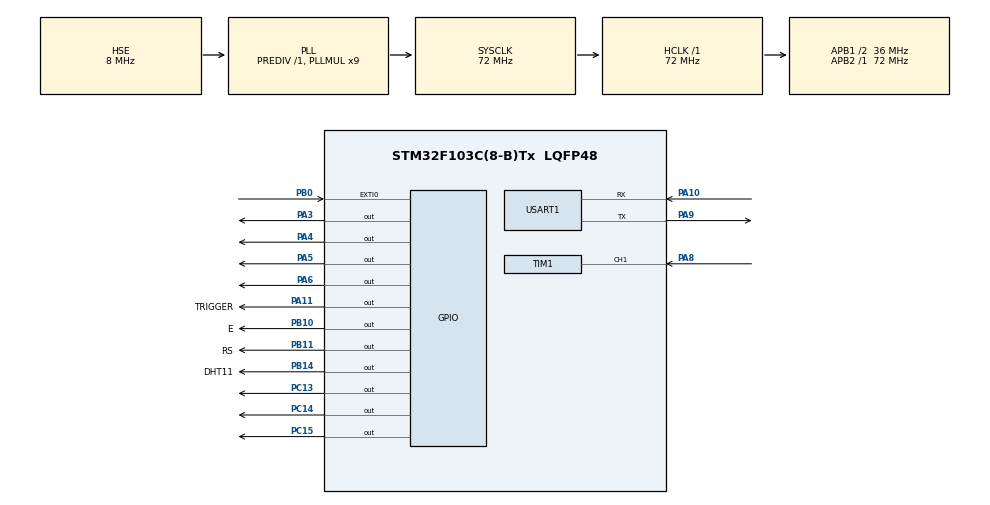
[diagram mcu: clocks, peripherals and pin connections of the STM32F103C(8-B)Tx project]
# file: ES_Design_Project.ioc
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Dma.Request0=USART1_RX
Dma.Request1=USART1_TX
Dma.USART1_RX.0.Direction=DMA_PERIPH_TO_MEMORY
Dma.USART1_RX.0.Instance=DMA1_Channel5
Dma.USART1_RX.0.MemDataAlignment=DMA_MDATAALIGN_BYTE
Dma.USART1_RX.0.MemInc=DMA_MINC_ENABLE
Dma.USART1_RX.0.Mode=DMA_NORMAL
Dma.USART1_RX.0.PeriphDataAlignment=DMA_PDATAALIGN_BYTE
Dma.USART1_RX.0.PeriphInc=DMA_PINC_DISABLE
Dma.USART1_RX.0.Priority=DMA_PRIORITY_LOW
Dma.USART1_TX.1.Direction=DMA_MEMORY_TO_PERIPH
Dma.USART1_TX.1.Instance=DMA1_Channel4
Dma.USART1_TX.1.MemDataAlignment=DMA_MDATAALIGN_BYTE
Dma.USART1_TX.1.MemInc=DMA_MINC_ENABLE
Dma.USART1_TX.1.Mode=DMA_NORMAL
Dma.USART1_TX.1.PeriphDataAlignment=DMA_PDATAALIGN_BYTE
Dma.USART1_TX.1.PeriphInc=DMA_PINC_DISABLE
Dma.USART1_TX.1.Priority=DMA_PRIORITY_LOW
Mcu.Family=STM32F1
Mcu.Name=STM32F103C(8-B)Tx
Mcu.Package=LQFP48
NVIC.DMA1_Channel4_IRQn=true\:0\:0\:true\:false\:true\:false\:true\:true
NVIC.DMA1_Channel5_IRQn=true\:0\:0\:true\:false\:true\:false\:true\:true
NVIC.EXTI0_IRQn=true\:0\:0\:false\:false\:true\:true\:true\:true
NVIC.PriorityGroup=NVIC_PRIORITYGROUP_2
NVIC.TIM1_BRK_IRQn=true\:0\:0\:false\:false\:true\:true\:true\:true
NVIC.TIM1_CC_IRQn=true\:1\:0\:true\:false\:true\:true\:true\:true
NVIC.TIM1_TRG_COM_IRQn=true\:0\:0\:false\:false\:true\:true\:true\:true
NVIC.TIM1_UP_IRQn=true\:0\:0\:false\:false\:true\:true\:true\:true
NVIC.TIM4_IRQn=true\:2\:0\:true\:false\:true\:true\:true\:true
NVIC.USART1_IRQn=true\:0\:0\:true\:false\:true\:true\:true\:true
PA10.Mode=Asynchronous
PA10.Signal=USART1_RX
PA11.GPIO_Label=TRIGGER
PA11.Signal=GPIO_Output
PA13.Mode=Serial_Wire
PA13.Signal=SYS_JTMS-SWDIO
PA14.Mode=Serial_Wire
PA14.Signal=SYS_JTCK-SWCLK
PA3.Signal=GPIO_Output
PA4.Signal=GPIO_Output
PA5.Signal=GPIO_Output
PA6.Signal=GPIO_Output
PA8.Signal=S_TIM1_CH1
PA9.Mode=Asynchronous
PA9.Signal=USART1_TX
PB0.GPIO_ModeDefaultEXTI=GPIO_MODE_IT_FALLING
PB0.Signal=GPXTI0
PB10.GPIO_Label=E
PB10.Signal=GPIO_Output
PB11.GPIO_Label=RS
PB11.Signal=GPIO_Output
PB14.GPIO_Label=DHT11
PB14.Signal=GPIO_Output
PC13-TAMPER-RTC.PinState=GPIO_PIN_SET
PC13-TAMPER-RTC.Signal=GPIO_Output
PC14-OSC32_IN.PinState=GPIO_PIN_SET
PC14-OSC32_IN.Signal=GPIO_Output
PC15-OSC32_OUT.PinState=GPIO_PIN_SET
PC15-OSC32_OUT.Signal=GPIO_Output
PD0-OSC_IN.Mode=HSE-External-Oscillator
PD0-OSC_IN.Signal=RCC_OSC_IN
PD1-OSC_OUT.Mode=HSE-External-Oscillator
PD1-OSC_OUT.Signal=RCC_OSC_OUT
ProjectManager.HeapSize=0x200
ProjectManager.StackSize=0x400
ProjectManager.TargetToolchain=STM32CubeIDE
RCC.AHBFreq_Value=72000000
RCC.APB1CLKDivider=RCC_HCLK_DIV2
RCC.APB1Freq_Value=36000000
RCC.APB1TimFreq_Value=72000000
RCC.APB2Freq_Value=72000000
RCC.APB2TimFreq_Value=72000000
RCC.HCLKFreq_Value=72000000
RCC.PLLMUL=RCC_PLL_MUL9
RCC.PLLSourceVirtual=RCC_PLLSOURCE_HSE
RCC.SYSCLKFreq_VALUE=72000000
RCC.SYSCLKSource=RCC_SYSCLKSOURCE_PLLCLK
RCC.USBFreq_Value=72000000
SH.S_TIM1_CH1.0=TIM1_CH1,Input_Capture1_from_TI1
TIM1.Channel-Input_Capture1_from_TI1=TIM_CHANNEL_1
TIM1.Prescaler=71
TIM4.Period=50000
TIM4.Prescaler=7200 - 1
USART1.VirtualMode=VM_ASYNC
VP_TIM1_VS_ClockSourceINT.Mode=Internal
VP_TIM4_VS_ClockSourceINT.Mode=Internal
board=custom

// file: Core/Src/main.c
/* USER CODE BEGIN Header */
/**
  ******************************************************************************
  * @file           : main.c
  * @brief          : Main program body
  ******************************************************************************
  * @attention
  *
  * <h2><center>&copy; Copyright (c) 2020 STMicroelectronics.
  * All rights reserved.</center></h2>
  *
  * This software component is licensed by ST under BSD 3-Clause license,
  * the "License"; You may not use this file except in compliance with the
  * License. You may obtain a copy of the License at:
  *                        opensource.org/licenses/BSD-3-Clause
  *
  ******************************************************************************
  */
/* USER CODE END Header */
#include "main.h"

/* USER CODE BEGIN Includes */
#include "DHT.h"
#include "lcd16x2.h"
#include <stdio.h>
#include <string.h>
#include <math.h>
#include <stdbool.h>
/* USER CODE END Includes */

/* USER CODE BEGIN PTD */
typedef void (*Task_FunctionTypeDef) (void);
/* USER CODE END PTD */

/* USER CODE BEGIN PD */
#define TransmitBuff_SIZE	70
#define ReceiveBuff_SIZE	10
#define MainBuff_SIZE		9
#define Queue_SIZE			45
/* USER CODE END PD */

TIM_HandleTypeDef htim1;
TIM_HandleTypeDef htim4;

UART_HandleTypeDef huart1;
DMA_HandleTypeDef hdma_usart1_rx;
DMA_HandleTypeDef hdma_usart1_tx;

/* USER CODE BEGIN PV */
Task_FunctionTypeDef queue[Queue_SIZE];
Task_FunctionTypeDef UART_Transmit_Func = NULL;

/* Data of DHT11 Sensor */
float temp = 0;
float humi = 0;
uint8_t Rh_byte1, Rh_byte2, Temp_byte1, Temp_byte2;
uint16_t SUM, RH, TEMP;
uint8_t Presence = 0;

/* Data line of LCD1602*/
char data_line_1[16];
char data_line_2[16];

/* Data of HC-SR04 Sensor */
uint32_t IC_Val1 = 0;
uint32_t IC_Val2 = 0;
uint32_t Difference = 0;
uint8_t Is_First_Captured = 0;  // is the first value captured ?
uint8_t distance  = 0;

/* Buffer Array */
uint8_t RxBuffer[ReceiveBuff_SIZE];
uint8_t TxBuffer[TransmitBuff_SIZE];
uint8_t MainBuffer[MainBuff_SIZE];

/* Period Time */
uint8_t DHT11_transmit_period;
uint8_t HCSR04_transmit_period;
uint8_t temp_transmit_period;
uint8_t humi_transmit_period;

/* Temperature Threshold */
uint8_t temp_threshold;

/* Humidity Threshold */
uint8_t humi_threshold;

/* Distance Threshold */
uint8_t dist_threshold;

/* Etc .. */
uint8_t cmd_index = 1;
uint8_t len = 0;

uint32_t start_tick = 0;
uint32_t stop_tick = 0;
uint32_t execute_tick = 0;

uint8_t humi_cnt = 0;
uint8_t temp_cnt = 0;
uint8_t dist_cnt = 0;

/* Enable Flag */
bool read_DHT11_flag = 0;
bool read_HCSR04_flag = 0;
bool transmit_DHT11_data_flag = 0;
bool transmit_temp_data_flag = 0;
bool transmit_humi_data_flag = 0;
bool transmit_dist_data_flag = 0;
bool transmit_DHT11_HCSR04_data_flag = 0;
bool transmit_temp_HCSR04_data_flag = 0;
bool transmit_humi_HCSR04_data_flag = 0;
bool lcd_display_flag = 0;
bool uart_enable_cmd_1 = 0;
bool uart_enable_cmd_2 = 0;

bool uart_enable_cmd_1_tmp = 0;
bool uart_enable_cmd_2_tmp = 0;

bool button_enable = 0;
bool isHumiTrans = 0;
bool isDistTrans = 0;

uint16_t Count = 0;
uint16_t cnt = 0;
uint16_t cnt_1 = 0;
uint8_t isr_cnt = 0;

int isr_tick_start;
int isr_tick_stop;
int isr_execute_tick;

int dht11_tick_old = 0;
int dht11_tick_new = 0;
int dht11_tick_period;

int lcd_tick_old = 0;
int lcd_tick_new = 0;
int lcd_tick_period;

int hcsr04_tick_old = 0;
int hcsr04_tick_new = 0;
int hcsr04_tick_period;

int old_tick = 0;
int new_tick = 0;

int task_idx = 0;
int old_task_idx;
int execute_time[46];
int idx = 4;
/* USER CODE END PV */

void SystemClock_Config(void);
static void MX_GPIO_Init(void);
static void MX_DMA_Init(void);
static void MX_TIM4_Init(void);
static void MX_USART1_UART_Init(void);
static void MX_TIM1_Init(void);
/* USER CODE BEGIN PFP */
// Hiển thị LCD
void LCD_Display(void);

// Nhận UART
void HAL_UARTEx_RxEventCallback(UART_HandleTypeDef *huart, uint16_t Size);

// Xử lý lệnh UART
void processRecCmd(size_t len);

// Truyen du lieu DHT11 qua UART
void DHT11_UART_Transmit(void);

// Truyen du lieu HSR04 qua UART
void HCSR04_UART_Transmit(void);

// Truyen du lieu DHT11 và HSR04 qua UART
void DHT11_HSR04_UART_Transmit(void);

void Temp_HCSR04_UART_Transmit(void);

void Humi_HCSR04_UART_Transmit(void);

// Delay microsecond
void delay_us(uint16_t time);

// Hàm Callback khi sóng siêu âm phản hồi v�? để đo khoảng cách
void HAL_TIM_IC_CaptureCallback(TIM_HandleTypeDef *htim);

// Hàm ngắt Timer
void HAL_TIM_PeriodElapsedCallback(TIM_HandleTypeDef *htim);

// Set chân cho DHT11
void Set_Pin_Output(GPIO_TypeDef *GPIOx, uint16_t GPIO_Pin);
void Set_Pin_Input(GPIO_TypeDef *GPIOx, uint16_t GPIO_Pin);

// Khởi tạo giao tiếp giữa DHT11 với Vi đi�?u khiển
void DHT11_Start(void);

// Kiểm tra phản hồi của DHT11
uint8_t DHT11_Check_Response(void);

uint8_t DHT11_Read(void);

// �?�?c cảm biến DHT11
void Read_DHT11_Sensor(void);

// �?�?c cảm biến HCSR04
void Read_HCSR04_Sensor(void);

void Temp_UART_Transmit(void);

void Humi_UART_Transmit(void);
/* USER CODE END PFP */

/* USER CODE BEGIN 0 */

// Set period, threshold value by button
void HAL_GPIO_EXTI_Callback(uint16_t GPIO_Pin)
{
	start_tick = HAL_GetTick();
	UNUSED(GPIO_Pin);
	if(GPIO_Pin == GPIO_PIN_0 && button_enable == true){
		isr_cnt++;
		/* Nhan nut lan 1, dat chu ky truyen UART cac cam bien la 1s */
		if(isr_cnt == 1){
			temp_transmit_period = 1;
			humi_transmit_period = 1;
			HCSR04_transmit_period = 1;
			HAL_GPIO_WritePin(GPIOC, GPIO_PIN_13, GPIO_PIN_SET);
			HAL_GPIO_WritePin(GPIOC, GPIO_PIN_14, GPIO_PIN_SET);
			HAL_GPIO_WritePin(GPIOC, GPIO_PIN_15, GPIO_PIN_RESET);
		}
		/* Nhan nut lan 2, dat chu ky truyen UART cac cam bien la 2s */
		else if(isr_cnt == 2){
			temp_transmit_period = 2;
			humi_transmit_period = 2;
			HCSR04_transmit_period = 2;
			HAL_GPIO_WritePin(GPIOC, GPIO_PIN_13, GPIO_PIN_SET);
			HAL_GPIO_WritePin(GPIOC, GPIO_PIN_14, GPIO_PIN_RESET);
			HAL_GPIO_WritePin(GPIOC, GPIO_PIN_15, GPIO_PIN_SET);
		}
		/* Nhan nut lan 3, dat chu ky truyen UART cac cam bien la 3s */
		else if(isr_cnt == 3){
			temp_transmit_period = 3;
			humi_transmit_period = 3;
			HCSR04_transmit_period = 3;
			HAL_GPIO_WritePin(GPIOC, GPIO_PIN_13, GPIO_PIN_RESET);
			HAL_GPIO_WritePin(GPIOC, GPIO_PIN_14, GPIO_PIN_SET);
			HAL_GPIO_WritePin(GPIOC, GPIO_PIN_15, GPIO_PIN_SET);
			isr_cnt = 0;
		}
	}
	//while(HAL_GPIO_ReadPin(GPIOB, GPIO_PIN_0) == GPIO_PIN_RESET);
	stop_tick = HAL_GetTick();
	execute_tick = stop_tick - start_tick;
}

void delay_us(uint16_t time)
{
	__HAL_TIM_SET_COUNTER(&htim1, 0);
	while (__HAL_TIM_GET_COUNTER (&htim1) < time);
}

void HAL_TIM_IC_CaptureCallback(TIM_HandleTypeDef *htim)
{
	if (htim->Channel == HAL_TIM_ACTIVE_CHANNEL_1)  // if the interrupt source is channel1
	{
		if (Is_First_Captured==0) // if the first value is not captured
		{
			IC_Val1 = HAL_TIM_ReadCapturedValue(htim, TIM_CHANNEL_1); // read the first value
			Is_First_Captured = 1;  // set the first captured as true
			// Now change the polarity to falling edge
			__HAL_TIM_SET_CAPTUREPOLARITY(htim, TIM_CHANNEL_1, TIM_INPUTCHANNELPOLARITY_FALLING);
		}

		else if (Is_First_Captured==1)   // if the first is already captured
		{
			IC_Val2 = HAL_TIM_ReadCapturedValue(htim, TIM_CHANNEL_1);  // read second value
			__HAL_TIM_SET_COUNTER(htim, 0);  // reset the counter

			if (IC_Val2 > IC_Val1)
			{
				Difference = IC_Val2-IC_Val1;
			}

			else if (IC_Val1 > IC_Val2)
			{
				Difference = (0xffff - IC_Val1) + IC_Val2;
			}

			distance = Difference * .034/2;
			Is_First_Captured = 0; // set it back to false

			// set polarity to rising edge
			__HAL_TIM_SET_CAPTUREPOLARITY(htim, TIM_CHANNEL_1, TIM_INPUTCHANNELPOLARITY_RISING);
			__HAL_TIM_DISABLE_IT(&htim1, TIM_IT_CC1);
			//stop_tick = HAL_GetTick();
			//execute_tick = stop_tick - start_tick;

		}
	}
}

void Read_HCSR04_Sensor(void)
{
	HAL_GPIO_WritePin(TRIGGER_GPIO_Port, TRIGGER_Pin, GPIO_PIN_SET);  // pull the TRIG pin HIGH
	delay_us(10);  // wait for 10 us
	HAL_GPIO_WritePin(TRIGGER_GPIO_Port, TRIGGER_Pin, GPIO_PIN_RESET);  // pull the TRIG pin low
	__HAL_TIM_ENABLE_IT(&htim1, TIM_IT_CC1);
}

void LCD_Display(void){
	sprintf(data_line_1,"TEMP HUMI DIST");
	sprintf(data_line_2,"%dC %d  %d", (int)temp, (int)humi,(int)distance);
	lcd16x2_1stLine();
	lcd16x2_printf(data_line_1);
	lcd16x2_2ndLine();
	lcd16x2_printf(data_line_2);
}

void DHT11_UART_Transmit(void){
	memset(TxBuffer, 0, TransmitBuff_SIZE);
	new_tick = HAL_GetTick();
	sprintf((char*)TxBuffer, "\nTemperature: %doC, Humidity: %d%% %d\n", (int) temp, (int) humi, (int) (new_tick - old_tick));
	old_tick = new_tick;
	for(size_t i = 0; i < sizeof(TxBuffer); i++){
		if(TxBuffer[i] == '\0'){
			len = i + 1;
		}
	}
	HAL_UART_Transmit_DMA(&huart1, TxBuffer, sizeof(TxBuffer));
}

void Temp_UART_Transmit(void){
	new_tick = HAL_GetTick();
	memset(TxBuffer, 0, TransmitBuff_SIZE);
	sprintf((char*)TxBuffer, "\nTemperature: %doC : %d\n", (int) temp, (int)(new_tick - old_tick));
	old_tick = new_tick;
	for(size_t i = 0; i < sizeof(TxBuffer); i++){
		if(TxBuffer[i] == '\0'){
			len = i + 1;
		}
	}
	HAL_UART_Transmit_DMA(&huart1, TxBuffer, sizeof(TxBuffer));
}

void Humi_UART_Transmit(void){
	memset(TxBuffer, 0, TransmitBuff_SIZE);
	sprintf((char*)TxBuffer, "\nHumidity: %d%%\n", (int) humi);
	for(size_t i = 0; i < sizeof(TxBuffer); i++){
		if(TxBuffer[i] == '\0'){
			len = i + 1;
		}
	}
	HAL_UART_Transmit_DMA(&huart1, TxBuffer, sizeof(TxBuffer));
}

void Humi_HCSR04_UART_Transmit(void){
	memset(TxBuffer, 0, TransmitBuff_SIZE);
	sprintf((char*)TxBuffer, "\nHumidity: %d%%, Distance: %d cm\n", (int) humi, (int) distance);
	for(size_t i = 0; i < sizeof(TxBuffer); i++){
		if(TxBuffer[i] == '\0'){
			len = i + 1;
		}
	}
	HAL_UART_Transmit_DMA(&huart1, TxBuffer, sizeof(TxBuffer));
}

void Temp_HCSR04_UART_Transmit(void){
	memset(TxBuffer, 0, TransmitBuff_SIZE);
	sprintf((char*)TxBuffer, "\nTemperature: %doC, Distance: %d cm\n", (int) temp, (int) distance);
	for(size_t i = 0; i < sizeof(TxBuffer); i++){
		if(TxBuffer[i] == '\0'){
			len = i + 1;
		}
	}
	HAL_UART_Transmit_DMA(&huart1, TxBuffer, sizeof(TxBuffer));
}

void HCSR04_UART_Transmit(void){
	memset(TxBuffer, 0, TransmitBuff_SIZE);
	sprintf((char*)TxBuffer, "\nDistance: %d cm\n", (int)distance);
	for(size_t i = 0; i < sizeof(TxBuffer); i++){
		if(TxBuffer[i] == '\0'){
			len = i + 1;
		}
	}
	HAL_UART_Transmit_DMA(&huart1, TxBuffer, sizeof(TxBuffer));

}

void DHT11_HCSR04_UART_Transmit(void){
	memset(TxBuffer, 0, TransmitBuff_SIZE);
	sprintf((char*)TxBuffer, "\nTemperature: %doC, Humidity: %d%%, Distance: %d cm, Time: %d\n", (int) temp, (int) humi, (int)distance, (int)HAL_GetTick());
	for(size_t i = 0; i < sizeof(TxBuffer); i++){
		if(TxBuffer[i] == '\0'){
			len = i + 1;
		}
	}
	HAL_UART_Transmit_DMA(&huart1, TxBuffer, len);
}

void processRecCmd(size_t len){
	if(MainBuffer[0] != 0x00 || MainBuffer[len-1] != 0x08){
		return;
	};

	uint8_t cmd_type = MainBuffer[cmd_index]; // MainBuffer[1]

	switch (cmd_type) {
		case 0x02:
			/* some codes */
			uart_enable_cmd_2_tmp = true;
			uart_enable_cmd_1_tmp = false;
			button_enable = 0;
			HAL_GPIO_WritePin(GPIOC, GPIO_PIN_13, GPIO_PIN_SET);
			HAL_GPIO_WritePin(GPIOC, GPIO_PIN_14, GPIO_PIN_SET);
			HAL_GPIO_WritePin(GPIOC, GPIO_PIN_15, GPIO_PIN_SET);
			isr_cnt = 0;
			temp_cnt = 0;
			humi_cnt = 0;
			dist_cnt = 0;
			transmit_DHT11_data_flag = 0;
			transmit_temp_data_flag = 0;
			transmit_humi_data_flag = 0;
			transmit_dist_data_flag = 0;
			transmit_DHT11_HCSR04_data_flag = 0;
			transmit_temp_HCSR04_data_flag = 0;
			transmit_humi_HCSR04_data_flag = 0;

			isDistTrans = 0;
			isHumiTrans = 0;

			temp_threshold = MainBuffer[5];
			humi_threshold = MainBuffer[6];
			dist_threshold = MainBuffer[7];
			if(MainBuffer[2] == 0x01){
				temp_transmit_period = 1;
			}
			else temp_transmit_period = 0;

			if(MainBuffer[3] == 0x01){
				humi_transmit_period = 1;
			}
			else humi_transmit_period = 0;

			if(MainBuffer[4] == 0x01){
				HCSR04_transmit_period = 1;
			}
			else HCSR04_transmit_period = 0;

		  break;

		case 0x01:
			/* some codes */
			uart_enable_cmd_1_tmp = true;
			uart_enable_cmd_2_tmp = false;
			button_enable = true;
			/* Xoa thong so cai dat tu nut nhan */
			HAL_GPIO_WritePin(GPIOC, GPIO_PIN_13, GPIO_PIN_SET);
			HAL_GPIO_WritePin(GPIOC, GPIO_PIN_14, GPIO_PIN_SET);
			HAL_GPIO_WritePin(GPIOC, GPIO_PIN_15, GPIO_PIN_SET);
			isr_cnt = 0;

			/* Xoa cac co cho phep */
			transmit_DHT11_data_flag = 0;
			transmit_temp_data_flag = 0;
			transmit_humi_data_flag = 0;
			transmit_dist_data_flag = 0;
			transmit_DHT11_HCSR04_data_flag = 0;
			transmit_temp_HCSR04_data_flag = 0;
			transmit_humi_HCSR04_data_flag = 0;

			isDistTrans = 0;
			isHumiTrans = 0;

			/* Dat cac thong so cai dat tu lenh UART */
			temp_transmit_period = MainBuffer[2];
			humi_transmit_period = MainBuffer[3];
			HCSR04_transmit_period = MainBuffer[4];
			temp_threshold = MainBuffer[5];
			humi_threshold = MainBuffer[6];
			dist_threshold = MainBuffer[7];
			temp_cnt = 0;
			humi_cnt = 0;
			dist_cnt = 0;
		  break;

		default:
		  break;
	}
}

void HAL_UARTEx_RxEventCallback(UART_HandleTypeDef *huart, uint16_t Size){
	if(huart->Instance == USART1){
		for(size_t i = 0; i<Size-1; i++) {
			if(RxBuffer[i] == 0x00){
				memcpy(MainBuffer, &RxBuffer[i], Size-i);
				processRecCmd(Size-i);
				break;
			}
		}
		HAL_UARTEx_ReceiveToIdle_DMA(&huart1, RxBuffer, MainBuff_SIZE);
		__HAL_DMA_DISABLE_IT(&hdma_usart1_rx, DMA_IT_HT);
	}
}

void HAL_TIM_PeriodElapsedCallback(TIM_HandleTypeDef *htim)
{
  // Check which version of the timer triggered this callback and toggle LED
  isr_tick_start = HAL_GetTick();
  if (htim == &htim4)
  {
	  old_task_idx = task_idx;
	  task_idx++;
	  __HAL_TIM_SET_AUTORELOAD(&htim4, execute_time[task_idx]);
	  //htim4.Init.Period = execute_time[task_idx];
	  __HAL_TIM_SET_COUNTER(&htim4,0);
	  if(queue[old_task_idx] == Read_DHT11_Sensor){
		  read_DHT11_flag = true;
	  }
	  else if(queue[old_task_idx] == Read_HCSR04_Sensor){
		  read_HCSR04_flag = true;
	  }
	  else if(queue[old_task_idx] == LCD_Display){
		  lcd_display_flag = true;
	  }
	  else if(queue[old_task_idx] == DHT11_UART_Transmit){
		  humi_cnt++;
		  temp_cnt++;
		  dist_cnt++;

		  if(uart_enable_cmd_1_tmp){
			  uart_enable_cmd_1 = true;
		  }
		  else{
			  uart_enable_cmd_1 = false;
		  }

		  if(uart_enable_cmd_2_tmp){
			  uart_enable_cmd_2 = true;
		  }
		  else{
			  uart_enable_cmd_2 = false;
		  }

		  if(((temp_cnt - 1) % temp_transmit_period) == 0 && ((humi_cnt - 1) % humi_transmit_period) == 0 && ((dist_cnt - 1) % HCSR04_transmit_period) == 0 && temp_transmit_period != 0 && humi_transmit_period !=0 && HCSR04_transmit_period != 0){
			  transmit_DHT11_HCSR04_data_flag = true;
			  isHumiTrans = true;
			  isDistTrans = true;
		  }
		  else if(((temp_cnt - 1) % temp_transmit_period) == 0 && ((humi_cnt - 1) % humi_transmit_period) == 0 && temp_transmit_period != 0 && humi_transmit_period != 0){
			  transmit_DHT11_data_flag = true;
			  isHumiTrans = true;
		  }
		  else if(((temp_cnt - 1) % temp_transmit_period) == 0 && ((dist_cnt - 1) % HCSR04_transmit_period) == 0 && temp_transmit_period !=0 && HCSR04_transmit_period != 0){
			  transmit_temp_HCSR04_data_flag = true;
			  isDistTrans = true;
		  }
		  else if(((temp_cnt - 1) % temp_transmit_period) == 0  && temp_transmit_period != 0){
			  transmit_temp_data_flag = true;
			  isDistTrans = false;
			  isHumiTrans = false;

		  }

		  if(((humi_cnt - 1) % humi_transmit_period) == 0 && ((dist_cnt - 1) % HCSR04_transmit_period) == 0  && HCSR04_transmit_period != 0 && humi_transmit_period !=0){
			  if(isHumiTrans == false && isDistTrans == false){
				  transmit_humi_HCSR04_data_flag = true;
				  isDistTrans = true;
			  }
		  }
		  else if(((humi_cnt - 1) % humi_transmit_period) == 0  && humi_transmit_period !=0){
			  if(isHumiTrans == false) transmit_humi_data_flag = true;
		  }

		  if(((dist_cnt - 1) % HCSR04_transmit_period) == 0  && HCSR04_transmit_period != 0){
			  if(isDistTrans == false) transmit_dist_data_flag = true;
		  }
	  }
	  if(task_idx == 45){
	  	  task_idx = 0;
	  }
  }
  isr_tick_stop = HAL_GetTick();
  isr_execute_tick = isr_tick_stop - isr_tick_start;

}

void Set_Pin_Output (GPIO_TypeDef *GPIOx, uint16_t GPIO_Pin)
{
	GPIO_InitTypeDef GPIO_InitStruct = {0};
	GPIO_InitStruct.Pin = GPIO_Pin;
	GPIO_InitStruct.Mode = GPIO_MODE_OUTPUT_PP;
	GPIO_InitStruct.Speed = GPIO_SPEED_FREQ_LOW;
	HAL_GPIO_Init(GPIOx, &GPIO_InitStruct);
}

void Set_Pin_Input (GPIO_TypeDef *GPIOx, uint16_t GPIO_Pin)
{
	GPIO_InitTypeDef GPIO_InitStruct = {0};
	GPIO_InitStruct.Pin = GPIO_Pin;
	GPIO_InitStruct.Mode = GPIO_MODE_INPUT;
	GPIO_InitStruct.Pull = GPIO_PULLUP;
	HAL_GPIO_Init(GPIOx, &GPIO_InitStruct);
}

void DHT11_Start (void)
{
	Set_Pin_Output (DHT11_GPIO_Port, DHT11_Pin);  // set the pin as output
	HAL_GPIO_WritePin (DHT11_GPIO_Port, DHT11_Pin, 0);   // pull the pin low
	delay_us(25000);   // wait for 25ms
    HAL_GPIO_WritePin(DHT11_GPIO_Port, DHT11_Pin, 1);   // pull the pin high
	delay_us(25);   // wait for 25us
	Set_Pin_Input(DHT11_GPIO_Port, DHT11_Pin);    // set as input
}

uint8_t DHT11_Check_Response(void)
{
	uint8_t Response = 0;
	delay_us(40);
	if (!(HAL_GPIO_ReadPin(DHT11_GPIO_Port, DHT11_Pin)))
	{
		delay_us(80);
		if ((HAL_GPIO_ReadPin(DHT11_GPIO_Port, DHT11_Pin))) Response = 1;
		else Response = -1; // 255
	}
	else{
		return Response;
	}
	while ((HAL_GPIO_ReadPin(DHT11_GPIO_Port, DHT11_Pin)));   // wait for the pin to go low

	return Response;
}

uint8_t DHT11_Read(void)
{
	uint8_t i,j;
	for (j=0;j<8;j++)
	{
		while (!(HAL_GPIO_ReadPin(DHT11_GPIO_Port, DHT11_Pin)));   // wait for the pin to go high
		delay_us(40);   // wait for 40 us
		if (!(HAL_GPIO_ReadPin(DHT11_GPIO_Port, DHT11_Pin)))   // if the pin is low
		{
			i&= ~(1<<(7-j));   // write 0
		}
		else{
			i|= (1<<(7-j));  // if the pin is high, write 1
		}
		while ((HAL_GPIO_ReadPin(DHT11_GPIO_Port, DHT11_Pin)));  // wait for the pin to go low
	}
	return i;
}

void Read_DHT11_Sensor(void){
	//start_tick = HAL_GetTick();
	DHT11_Start();
    Presence = DHT11_Check_Response();
    if(Presence){
    	Rh_byte1 = DHT11_Read();
    	Rh_byte2 = DHT11_Read();
    	Temp_byte1 = DHT11_Read();
    	Temp_byte2 = DHT11_Read();
    	SUM = DHT11_Read();
    	TEMP = Temp_byte1;
    	RH = Rh_byte1;
    	temp = (float)TEMP;
    	humi = (float)RH;
    }
    //stop_tick = HAL_GetTick();
    //execute_tick = stop_tick - start_tick;
}
/* USER CODE END 0 */

int main(void)
{

  /* MCU Configuration--------------------------------------------------------*/

  /* Reset of all peripherals, Initializes the Flash interface and the Systick. */
  HAL_Init();

  /* Configure the system clock */
  SystemClock_Config();

  /* Initialize all configured peripherals */
  MX_GPIO_Init();
  MX_DMA_Init();
  MX_TIM4_Init();
  MX_USART1_UART_Init();
  MX_TIM1_Init();
  /* USER CODE BEGIN 2 */
  queue[0] = Read_HCSR04_Sensor;
  queue[1] = Read_DHT11_Sensor;
  queue[4] = DHT11_UART_Transmit;
  queue[15] = DHT11_UART_Transmit;
  queue[26] = DHT11_UART_Transmit;
  queue[37] = DHT11_UART_Transmit;
  queue[2] = LCD_Display;
  queue[3] = Read_HCSR04_Sensor;

  for(uint8_t i = 5; i <= 44; ){
	  queue[i] = LCD_Display;
	  if(i == 13 || i == 24 || i == 35){
		  i = i + 3;
	  }
	  else{
		  i = i + 2;
	  }
  }

  for(uint8_t i = 6; i <= 43; ){
  	  queue[i] = Read_HCSR04_Sensor;
  	  if(i == 14 || i == 25 || i == 36){
  		  i = i + 3;
  	  }
  	  else{
  		  i = i + 2;
  	  }
    }

  for(uint8_t i = 0; i <= 45 ; i++){
	  execute_time[i] = 500 - 1;
  }

  execute_time[1] = 1000  - 1;

  for(uint8_t i = 4; i <= 37; i = i + 11){
	  execute_time[i] = 1000  - 1;
  };

  for(uint8_t i = 7; i <= 44; ){
    	  execute_time[i] = 1500 - 1;
    	  if(i == 13 || i == 24 || i == 35){
    		  i = i + 5;
    	  }
    	  else{
    		  i = i + 2;
    	  }
   };

  lcd16x2_init_4bits(GPIOB, RS_Pin, E_Pin, GPIOA, GPIO_PIN_3, GPIO_PIN_4, GPIO_PIN_5, GPIO_PIN_6);

  HAL_TIM_Base_Start_IT(&htim4);
  HAL_TIM_Base_Start(&htim1);
  __HAL_TIM_ENABLE_IT(&htim4, TIM_IT_UPDATE);
  HAL_TIM_IC_Start_IT(&htim1, TIM_CHANNEL_1);
  HAL_UARTEx_ReceiveToIdle_DMA(&huart1, RxBuffer, MainBuff_SIZE);
  __HAL_DMA_DISABLE_IT(&hdma_usart1_rx, DMA_IT_HT);

  /* USER CODE END 2 */

  /* Infinite loop */
  while (1)
  {

    /* USER CODE BEGIN 3 */

	  if(read_DHT11_flag){
	      read_DHT11_flag = 0;
	      dht11_tick_new = HAL_GetTick();
	      Read_DHT11_Sensor();
	      dht11_tick_period = dht11_tick_new - dht11_tick_old;
	      dht11_tick_old = dht11_tick_new;
	  }
	  else if(read_HCSR04_flag){
		  read_HCSR04_flag = 0;
		  hcsr04_tick_new = HAL_GetTick();
		  Read_HCSR04_Sensor();
		  hcsr04_tick_period = hcsr04_tick_new - hcsr04_tick_old;
		  hcsr04_tick_old = hcsr04_tick_new;
	  }
	  else if(lcd_display_flag){
		  lcd_display_flag = 0;
		  lcd_tick_new = HAL_GetTick();
		  LCD_Display();
		  lcd_tick_period = lcd_tick_new - lcd_tick_old;
		  lcd_tick_old = lcd_tick_new;
	  }
	  else if(transmit_DHT11_data_flag && (uart_enable_cmd_1 || uart_enable_cmd_2)){
		  transmit_DHT11_data_flag = 0;
		  DHT11_UART_Transmit();
		  temp_cnt = 1;
		  humi_cnt = 1;
		  isHumiTrans = 0;
		  if(uart_enable_cmd_2){
			  uart_enable_cmd_2_tmp = 0;
			  uart_enable_cmd_2 = 0;
		  }
	  }
	  else if(transmit_humi_HCSR04_data_flag && (uart_enable_cmd_1 || uart_enable_cmd_2)){
		  transmit_humi_HCSR04_data_flag = 0;
		  Humi_HCSR04_UART_Transmit();
		  humi_cnt = 1;
		  dist_cnt = 1;
		  isHumiTrans = 0;
		  isDistTrans = 0;
		  if(uart_enable_cmd_2){
			  uart_enable_cmd_2_tmp = 0;
			  uart_enable_cmd_2 = 0;
		  }
	  }
	  else if(transmit_temp_HCSR04_data_flag && (uart_enable_cmd_1 || uart_enable_cmd_2)){
		  transmit_temp_HCSR04_data_flag = 0;
		  temp_cnt = 1;
		  dist_cnt = 1;
		  Temp_HCSR04_UART_Transmit();
		  isDistTrans = 0;
		  if(uart_enable_cmd_2){
			  uart_enable_cmd_2_tmp = 0;
			  uart_enable_cmd_2 = 0;
		  }
	  }
	  else if(transmit_temp_data_flag && (uart_enable_cmd_1 || uart_enable_cmd_2)){
		  transmit_temp_data_flag = 0;
		  temp_cnt = 1;
		  Temp_UART_Transmit();
		  if(uart_enable_cmd_2){
			  uart_enable_cmd_2_tmp = 0;
			  uart_enable_cmd_2 = 0;
		  }
	  }
	  else if(transmit_humi_data_flag && (uart_enable_cmd_1 || uart_enable_cmd_2)){
		  transmit_humi_data_flag = 0;
		  humi_cnt = 1;
		  Humi_UART_Transmit();
		  isHumiTrans = 0;
		  if(uart_enable_cmd_2){
			  uart_enable_cmd_2_tmp = 0;
			  uart_enable_cmd_2 = 0;
		  }
	  }
	  else if(transmit_dist_data_flag && (uart_enable_cmd_1 || uart_enable_cmd_2)){
		  transmit_dist_data_flag = 0;
		  dist_cnt = 1;
		  HCSR04_UART_Transmit();
		  isDistTrans = 0;
		  if(uart_enable_cmd_2){
			  uart_enable_cmd_2_tmp = 0;
			  uart_enable_cmd_2 = 0;
		  }
	  }
	  else if(transmit_DHT11_HCSR04_data_flag && (uart_enable_cmd_1 || uart_enable_cmd_2)){
		  transmit_DHT11_HCSR04_data_flag = 0;
		  dist_cnt = 1;
		  temp_cnt = 1;
		  humi_cnt = 1;
		  DHT11_HCSR04_UART_Transmit();
		  isDistTrans = 0;
		  isHumiTrans = 0;
		  if(uart_enable_cmd_2){
			  uart_enable_cmd_2_tmp = 0;
			  uart_enable_cmd_2 = 0;
		  }
	  }
  }
  /* USER CODE END 3 */
}

void SystemClock_Config(void)
{
  RCC_OscInitTypeDef RCC_OscInitStruct = {0};
  RCC_ClkInitTypeDef RCC_ClkInitStruct = {0};

  /** Initializes the RCC Oscillators according to the specified parameters
  * in the RCC_OscInitTypeDef structure.
  */
  RCC_OscInitStruct.OscillatorType = RCC_OSCILLATORTYPE_HSE;
  RCC_OscInitStruct.HSEState = RCC_HSE_ON;
  RCC_OscInitStruct.HSEPredivValue = RCC_HSE_PREDIV_DIV1;
  RCC_OscInitStruct.HSIState = RCC_HSI_ON;
  RCC_OscInitStruct.PLL.PLLState = RCC_PLL_ON;
  RCC_OscInitStruct.PLL.PLLSource = RCC_PLLSOURCE_HSE;
  RCC_OscInitStruct.PLL.PLLMUL = RCC_PLL_MUL9;
  if (HAL_RCC_OscConfig(&RCC_OscInitStruct) != HAL_OK)
  {
    Error_Handler();
  }

  /** Initializes the CPU, AHB and APB buses clocks
  */
  RCC_ClkInitStruct.ClockType = RCC_CLOCKTYPE_HCLK|RCC_CLOCKTYPE_SYSCLK
                              |RCC_CLOCKTYPE_PCLK1|RCC_CLOCKTYPE_PCLK2;
  RCC_ClkInitStruct.SYSCLKSource = RCC_SYSCLKSOURCE_PLLCLK;
  RCC_ClkInitStruct.AHBCLKDivider = RCC_SYSCLK_DIV1;
  RCC_ClkInitStruct.APB1CLKDivider = RCC_HCLK_DIV2;
  RCC_ClkInitStruct.APB2CLKDivider = RCC_HCLK_DIV1;

  if (HAL_RCC_ClockConfig(&RCC_ClkInitStruct, FLASH_LATENCY_2) != HAL_OK)
  {
    Error_Handler();
  }
}

static void MX_TIM1_Init(void)
{

  TIM_ClockConfigTypeDef sClockSourceConfig = {0};
  TIM_MasterConfigTypeDef sMasterConfig = {0};
  TIM_IC_InitTypeDef sConfigIC = {0};

  htim1.Instance = TIM1;
  htim1.Init.Prescaler = 71;
  htim1.Init.CounterMode = TIM_COUNTERMODE_UP;
  htim1.Init.Period = 65535;
  htim1.Init.ClockDivision = TIM_CLOCKDIVISION_DIV1;
  htim1.Init.RepetitionCounter = 0;
  htim1.Init.AutoReloadPreload = TIM_AUTORELOAD_PRELOAD_DISABLE;
  if (HAL_TIM_Base_Init(&htim1) != HAL_OK)
  {
    Error_Handler();
  }
  sClockSourceConfig.ClockSource = TIM_CLOCKSOURCE_INTERNAL;
  if (HAL_TIM_ConfigClockSource(&htim1, &sClockSourceConfig) != HAL_OK)
  {
    Error_Handler();
  }
  if (HAL_TIM_IC_Init(&htim1) != HAL_OK)
  {
    Error_Handler();
  }
  sMasterConfig.MasterOutputTrigger = TIM_TRGO_RESET;
  sMasterConfig.MasterSlaveMode = TIM_MASTERSLAVEMODE_DISABLE;
  if (HAL_TIMEx_MasterConfigSynchronization(&htim1, &sMasterConfig) != HAL_OK)
  {
    Error_Handler();
  }
  sConfigIC.ICPolarity = TIM_INPUTCHANNELPOLARITY_RISING;
  sConfigIC.ICSelection = TIM_ICSELECTION_DIRECTTI;
  sConfigIC.ICPrescaler = TIM_ICPSC_DIV1;
  sConfigIC.ICFilter = 0;
  if (HAL_TIM_IC_ConfigChannel(&htim1, &sConfigIC, TIM_CHANNEL_1) != HAL_OK)
  {
    Error_Handler();
  }

}

static void MX_TIM4_Init(void)
{

  TIM_ClockConfigTypeDef sClockSourceConfig = {0};
  TIM_MasterConfigTypeDef sMasterConfig = {0};

  htim4.Instance = TIM4;
  htim4.Init.Prescaler = 7200 - 1;
  htim4.Init.CounterMode = TIM_COUNTERMODE_UP;
  htim4.Init.Period = 50000;
  htim4.Init.ClockDivision = TIM_CLOCKDIVISION_DIV1;
  htim4.Init.AutoReloadPreload = TIM_AUTORELOAD_PRELOAD_DISABLE;
  if (HAL_TIM_Base_Init(&htim4) != HAL_OK)
  {
    Error_Handler();
  }
  sClockSourceConfig.ClockSource = TIM_CLOCKSOURCE_INTERNAL;
  if (HAL_TIM_ConfigClockSource(&htim4, &sClockSourceConfig) != HAL_OK)
  {
    Error_Handler();
  }
  sMasterConfig.MasterOutputTrigger = TIM_TRGO_RESET;
  sMasterConfig.MasterSlaveMode = TIM_MASTERSLAVEMODE_DISABLE;
  if (HAL_TIMEx_MasterConfigSynchronization(&htim4, &sMasterConfig) != HAL_OK)
  {
    Error_Handler();
  }

}

static void MX_USART1_UART_Init(void)
{

  huart1.Instance = USART1;
  huart1.Init.BaudRate = 115200;
  huart1.Init.WordLength = UART_WORDLENGTH_8B;
  huart1.Init.StopBits = UART_STOPBITS_1;
  huart1.Init.Parity = UART_PARITY_NONE;
  huart1.Init.Mode = UART_MODE_TX_RX;
  huart1.Init.HwFlowCtl = UART_HWCONTROL_NONE;
  huart1.Init.OverSampling = UART_OVERSAMPLING_16;
  if (HAL_UART_Init(&huart1) != HAL_OK)
  {
    Error_Handler();
  }

}

static void MX_DMA_Init(void)
{

  /* DMA controller clock enable */
  __HAL_RCC_DMA1_CLK_ENABLE();

  /* DMA interrupt init */
  /* DMA1_Channel4_IRQn interrupt configuration */
  HAL_NVIC_SetPriority(DMA1_Channel4_IRQn, 0, 0);
  HAL_NVIC_EnableIRQ(DMA1_Channel4_IRQn);
  /* DMA1_Channel5_IRQn interrupt configuration */
  HAL_NVIC_SetPriority(DMA1_Channel5_IRQn, 0, 0);
  HAL_NVIC_EnableIRQ(DMA1_Channel5_IRQn);

}

static void MX_GPIO_Init(void)
{
  GPIO_InitTypeDef GPIO_InitStruct = {0};

  /* GPIO Ports Clock Enable */
  __HAL_RCC_GPIOC_CLK_ENABLE();
  __HAL_RCC_GPIOD_CLK_ENABLE();
  __HAL_RCC_GPIOA_CLK_ENABLE();
  __HAL_RCC_GPIOB_CLK_ENABLE();

  /*Configure GPIO pin Output Level */
  HAL_GPIO_WritePin(GPIOC, GPIO_PIN_13|GPIO_PIN_14|GPIO_PIN_15, GPIO_PIN_SET);

  /*Configure GPIO pin Output Level */
  HAL_GPIO_WritePin(GPIOA, GPIO_PIN_3|GPIO_PIN_4|GPIO_PIN_5|GPIO_PIN_6
                          |TRIGGER_Pin, GPIO_PIN_RESET);

  /*Configure GPIO pin Output Level */
  HAL_GPIO_WritePin(GPIOB, E_Pin|RS_Pin|DHT11_Pin, GPIO_PIN_RESET);

  /*Configure GPIO pins : PC13 PC14 PC15 */
  GPIO_InitStruct.Pin = GPIO_PIN_13|GPIO_PIN_14|GPIO_PIN_15;
  GPIO_InitStruct.Mode = GPIO_MODE_OUTPUT_PP;
  GPIO_InitStruct.Pull = GPIO_NOPULL;
  GPIO_InitStruct.Speed = GPIO_SPEED_FREQ_LOW;
  HAL_GPIO_Init(GPIOC, &GPIO_InitStruct);

  /*Configure GPIO pins : PA3 PA4 PA5 PA6
                           TRIGGER_Pin */
  GPIO_InitStruct.Pin = GPIO_PIN_3|GPIO_PIN_4|GPIO_PIN_5|GPIO_PIN_6
                          |TRIGGER_Pin;
  GPIO_InitStruct.Mode = GPIO_MODE_OUTPUT_PP;
  GPIO_InitStruct.Pull = GPIO_NOPULL;
  GPIO_InitStruct.Speed = GPIO_SPEED_FREQ_LOW;
  HAL_GPIO_Init(GPIOA, &GPIO_InitStruct);

  /*Configure GPIO pin : PB0 */
  GPIO_InitStruct.Pin = GPIO_PIN_0;
  GPIO_InitStruct.Mode = GPIO_MODE_IT_FALLING;
  GPIO_InitStruct.Pull = GPIO_NOPULL;
  HAL_GPIO_Init(GPIOB, &GPIO_InitStruct);

  /*Configure GPIO pins : E_Pin RS_Pin DHT11_Pin */
  GPIO_InitStruct.Pin = E_Pin|RS_Pin|DHT11_Pin;
  GPIO_InitStruct.Mode = GPIO_MODE_OUTPUT_PP;
  GPIO_InitStruct.Pull = GPIO_NOPULL;
  GPIO_InitStruct.Speed = GPIO_SPEED_FREQ_LOW;
  HAL_GPIO_Init(GPIOB, &GPIO_InitStruct);

  /* EXTI interrupt init*/
  HAL_NVIC_SetPriority(EXTI0_IRQn, 0, 0);
  HAL_NVIC_EnableIRQ(EXTI0_IRQn);

}

void Error_Handler(void)
{
}
